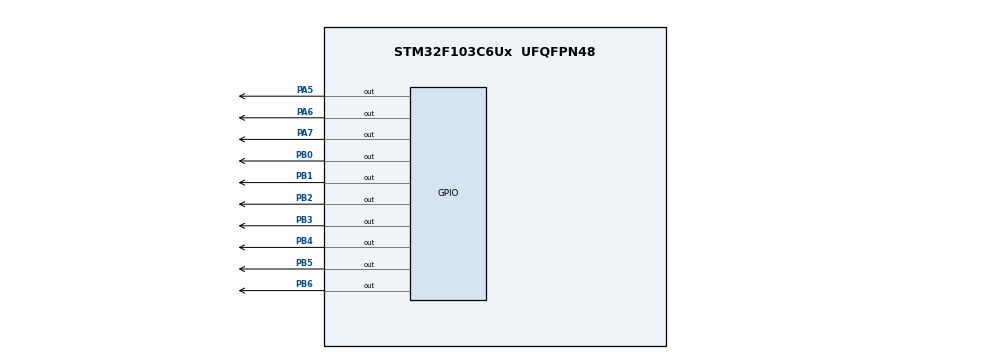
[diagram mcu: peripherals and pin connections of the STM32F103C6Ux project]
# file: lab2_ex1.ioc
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Mcu.Family=STM32F1
Mcu.Name=STM32F103C6Ux
Mcu.Package=UFQFPN48
NVIC.PriorityGroup=NVIC_PRIORITYGROUP_4
NVIC.TIM2_IRQn=true\:0\:0\:false\:false\:true\:true\:true
PA5.Signal=GPIO_Output
PA6.Signal=GPIO_Output
PA7.Signal=GPIO_Output
PB0.Signal=GPIO_Output
PB1.Signal=GPIO_Output
PB2.Signal=GPIO_Output
PB3.Signal=GPIO_Output
PB4.Signal=GPIO_Output
PB5.Signal=GPIO_Output
PB6.Signal=GPIO_Output
ProjectManager.HeapSize=0x200
ProjectManager.StackSize=0x400
ProjectManager.TargetToolchain=STM32CubeIDE
RCC.APB1Freq_Value=8000000
RCC.APB2Freq_Value=8000000
TIM2.Period=9
TIM2.Prescaler=7999
VP_SYS_VS_ND.Mode=No_Debug
VP_TIM2_VS_ClockSourceINT.Mode=Internal
board=custom

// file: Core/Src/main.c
/* USER CODE BEGIN Header */
/**
  ******************************************************************************
  * @file           : main.c
  * @brief          : Main program body
  ******************************************************************************
  * @attention
  *
  * <h2><center>&copy; Copyright (c) 2023 STMicroelectronics.
  * All rights reserved.</center></h2>
  *
  * This software component is licensed by ST under BSD 3-Clause license,
  * the "License"; You may not use this file except in compliance with the
  * License. You may obtain a copy of the License at:
  *                        opensource.org/licenses/BSD-3-Clause
  *
  ******************************************************************************
  */
/* USER CODE END Header */
#include "main.h"

TIM_HandleTypeDef htim2;

void SystemClock_Config(void);
static void MX_TIM2_Init(void);
static void MX_GPIO_Init(void);
void display7SEG(int num);

int main(void)
{

  /* MCU Configuration--------------------------------------------------------*/

  /* Reset of all peripherals, Initializes the Flash interface and the Systick. */
  HAL_Init();

  /* Configure the system clock */
  SystemClock_Config();

  /* Initialize all configured peripherals */
  MX_TIM2_Init();
  MX_GPIO_Init();
  /* USER CODE BEGIN 2 */
  HAL_GPIO_TogglePin(GPIOA, GPIO_PIN_7);
  HAL_TIM_Base_Start_IT(&htim2);
  /* USER CODE END 2 */

  /* Infinite loop */
  while (1)
  {
  }
}

void SystemClock_Config(void)
{
  RCC_OscInitTypeDef RCC_OscInitStruct = {0};
  RCC_ClkInitTypeDef RCC_ClkInitStruct = {0};

  /** Initializes the RCC Oscillators according to the specified parameters
  * in the RCC_OscInitTypeDef structure.
  */
  RCC_OscInitStruct.OscillatorType = RCC_OSCILLATORTYPE_HSI;
  RCC_OscInitStruct.HSIState = RCC_HSI_ON;
  RCC_OscInitStruct.HSICalibrationValue = RCC_HSICALIBRATION_DEFAULT;
  RCC_OscInitStruct.PLL.PLLState = RCC_PLL_NONE;
  if (HAL_RCC_OscConfig(&RCC_OscInitStruct) != HAL_OK)
  {
    Error_Handler();
  }
  /** Initializes the CPU, AHB and APB buses clocks
  */
  RCC_ClkInitStruct.ClockType = RCC_CLOCKTYPE_HCLK|RCC_CLOCKTYPE_SYSCLK
                              |RCC_CLOCKTYPE_PCLK1|RCC_CLOCKTYPE_PCLK2;
  RCC_ClkInitStruct.SYSCLKSource = RCC_SYSCLKSOURCE_HSI;
  RCC_ClkInitStruct.AHBCLKDivider = RCC_SYSCLK_DIV1;
  RCC_ClkInitStruct.APB1CLKDivider = RCC_HCLK_DIV1;
  RCC_ClkInitStruct.APB2CLKDivider = RCC_HCLK_DIV1;

  if (HAL_RCC_ClockConfig(&RCC_ClkInitStruct, FLASH_LATENCY_0) != HAL_OK)
  {
    Error_Handler();
  }
}

static void MX_TIM2_Init(void)
{

  TIM_ClockConfigTypeDef sClockSourceConfig = {0};
  TIM_MasterConfigTypeDef sMasterConfig = {0};

  htim2.Instance = TIM2;
  htim2.Init.Prescaler = 7999;
  htim2.Init.CounterMode = TIM_COUNTERMODE_UP;
  htim2.Init.Period = 9;
  htim2.Init.ClockDivision = TIM_CLOCKDIVISION_DIV1;
  htim2.Init.AutoReloadPreload = TIM_AUTORELOAD_PRELOAD_DISABLE;
  if (HAL_TIM_Base_Init(&htim2) != HAL_OK)
  {
    Error_Handler();
  }
  sClockSourceConfig.ClockSource = TIM_CLOCKSOURCE_INTERNAL;
  if (HAL_TIM_ConfigClockSource(&htim2, &sClockSourceConfig) != HAL_OK)
  {
    Error_Handler();
  }
  sMasterConfig.MasterOutputTrigger = TIM_TRGO_RESET;
  sMasterConfig.MasterSlaveMode = TIM_MASTERSLAVEMODE_DISABLE;
  if (HAL_TIMEx_MasterConfigSynchronization(&htim2, &sMasterConfig) != HAL_OK)
  {
    Error_Handler();
  }

}

static void MX_GPIO_Init(void)
{
  GPIO_InitTypeDef GPIO_InitStruct = {0};

  /* GPIO Ports Clock Enable */
  __HAL_RCC_GPIOA_CLK_ENABLE();
  __HAL_RCC_GPIOB_CLK_ENABLE();

  /*Configure GPIO pin Output Level */
  HAL_GPIO_WritePin(GPIOA, GPIO_PIN_5|GPIO_PIN_6|GPIO_PIN_7, GPIO_PIN_RESET);

  /*Configure GPIO pin Output Level */
  HAL_GPIO_WritePin(GPIOB, GPIO_PIN_0|GPIO_PIN_1|GPIO_PIN_2|GPIO_PIN_3
                          |GPIO_PIN_4|GPIO_PIN_5|GPIO_PIN_6, GPIO_PIN_RESET);

  /*Configure GPIO pins : PA5 PA6 PA7 */
  GPIO_InitStruct.Pin = GPIO_PIN_5|GPIO_PIN_6|GPIO_PIN_7;
  GPIO_InitStruct.Mode = GPIO_MODE_OUTPUT_PP;
  GPIO_InitStruct.Pull = GPIO_NOPULL;
  GPIO_InitStruct.Speed = GPIO_SPEED_FREQ_LOW;
  HAL_GPIO_Init(GPIOA, &GPIO_InitStruct);

  /*Configure GPIO pins : PB0 PB1 PB2 PB3
                           PB4 PB5 PB6 */
  GPIO_InitStruct.Pin = GPIO_PIN_0|GPIO_PIN_1|GPIO_PIN_2|GPIO_PIN_3
                          |GPIO_PIN_4|GPIO_PIN_5|GPIO_PIN_6;
  GPIO_InitStruct.Mode = GPIO_MODE_OUTPUT_PP;
  GPIO_InitStruct.Pull = GPIO_NOPULL;
  GPIO_InitStruct.Speed = GPIO_SPEED_FREQ_LOW;
  HAL_GPIO_Init(GPIOB, &GPIO_InitStruct);

}

/* USER CODE BEGIN 4 */
int counter = 50;
int num = 2;
void HAL_TIM_PeriodElapsedCallback(TIM_HandleTypeDef *htim){
	 counter--;
	 if(counter <= 0){
		 counter = 50;
		 HAL_GPIO_TogglePin(GPIOA, GPIO_PIN_5);
		 HAL_GPIO_TogglePin(GPIOA, GPIO_PIN_6);
		 HAL_GPIO_TogglePin(GPIOA, GPIO_PIN_7);
		 display7SEG(num);
		 if(num == 1){
			 num = 2;
		 }else if(num == 2){
			 num = 1;
		 }
	 }
}

void display7SEG(int number){
	switch(number){
		case 0:
			HAL_GPIO_WritePin(GPIOB, GPIO_PIN_0, RESET);
			HAL_GPIO_WritePin(GPIOB, GPIO_PIN_1, RESET);
			HAL_GPIO_WritePin(GPIOB, GPIO_PIN_2, RESET);
			HAL_GPIO_WritePin(GPIOB, GPIO_PIN_3, RESET);
			HAL_GPIO_WritePin(GPIOB, GPIO_PIN_4, RESET);
			HAL_GPIO_WritePin(GPIOB, GPIO_PIN_5, RESET);
			HAL_GPIO_WritePin(GPIOB, GPIO_PIN_6, SET);
			break;
		case 1:
			HAL_GPIO_WritePin(GPIOB, GPIO_PIN_0, SET);
			HAL_GPIO_WritePin(GPIOB, GPIO_PIN_1, RESET);
			HAL_GPIO_WritePin(GPIOB, GPIO_PIN_2, RESET);
			HAL_GPIO_WritePin(GPIOB, GPIO_PIN_3, SET);
			HAL_GPIO_WritePin(GPIOB, GPIO_PIN_4, SET);
			HAL_GPIO_WritePin(GPIOB, GPIO_PIN_5, SET);
			HAL_GPIO_WritePin(GPIOB, GPIO_PIN_6, SET);
			break;
		case 2:
			HAL_GPIO_WritePin(GPIOB, GPIO_PIN_0, RESET);
			HAL_GPIO_WritePin(GPIOB, GPIO_PIN_1, RESET);
			HAL_GPIO_WritePin(GPIOB, GPIO_PIN_2, SET);
			HAL_GPIO_WritePin(GPIOB, GPIO_PIN_3, RESET);
			HAL_GPIO_WritePin(GPIOB, GPIO_PIN_4, RESET);
			HAL_GPIO_WritePin(GPIOB, GPIO_PIN_5, SET);
			HAL_GPIO_WritePin(GPIOB, GPIO_PIN_6, RESET);
			break;
		case 3:
			HAL_GPIO_WritePin(GPIOB, GPIO_PIN_0, RESET);
			HAL_GPIO_WritePin(GPIOB, GPIO_PIN_1, RESET);
			HAL_GPIO_WritePin(GPIOB, GPIO_PIN_2, RESET);
			HAL_GPIO_WritePin(GPIOB, GPIO_PIN_3, RESET);
			HAL_GPIO_WritePin(GPIOB, GPIO_PIN_4, SET);
			HAL_GPIO_WritePin(GPIOB, GPIO_PIN_5, SET);
			HAL_GPIO_WritePin(GPIOB, GPIO_PIN_6, RESET);
			break;
		case 4:
			HAL_GPIO_WritePin(GPIOB, GPIO_PIN_0, SET);
			HAL_GPIO_WritePin(GPIOB, GPIO_PIN_1, RESET);
			HAL_GPIO_WritePin(GPIOB, GPIO_PIN_2, RESET);
			HAL_GPIO_WritePin(GPIOB, GPIO_PIN_3, SET);
			HAL_GPIO_WritePin(GPIOB, GPIO_PIN_4, SET);
			HAL_GPIO_WritePin(GPIOB, GPIO_PIN_5, RESET);
			HAL_GPIO_WritePin(GPIOB, GPIO_PIN_6, RESET);
			break;
		case 5:
			HAL_GPIO_WritePin(GPIOB, GPIO_PIN_0, RESET);
			HAL_GPIO_WritePin(GPIOB, GPIO_PIN_1, SET);
			HAL_GPIO_WritePin(GPIOB, GPIO_PIN_2, RESET);
			HAL_GPIO_WritePin(GPIOB, GPIO_PIN_3, RESET);
			HAL_GPIO_WritePin(GPIOB, GPIO_PIN_4, SET);
			HAL_GPIO_WritePin(GPIOB, GPIO_PIN_5, RESET);
			HAL_GPIO_WritePin(GPIOB, GPIO_PIN_6, RESET);
			break;
		case 6:
			HAL_GPIO_WritePin(GPIOB, GPIO_PIN_0, RESET);
			HAL_GPIO_WritePin(GPIOB, GPIO_PIN_1, SET);
			HAL_GPIO_WritePin(GPIOB, GPIO_PIN_2, RESET);
			HAL_GPIO_WritePin(GPIOB, GPIO_PIN_3, RESET);
			HAL_GPIO_WritePin(GPIOB, GPIO_PIN_4, RESET);
			HAL_GPIO_WritePin(GPIOB, GPIO_PIN_5, RESET);
			HAL_GPIO_WritePin(GPIOB, GPIO_PIN_6, RESET);
			break;
		case 7:
			HAL_GPIO_WritePin(GPIOB, GPIO_PIN_0, RESET);
			HAL_GPIO_WritePin(GPIOB, GPIO_PIN_1, RESET);
			HAL_GPIO_WritePin(GPIOB, GPIO_PIN_2, RESET);
			HAL_GPIO_WritePin(GPIOB, GPIO_PIN_3, SET);
			HAL_GPIO_WritePin(GPIOB, GPIO_PIN_4, SET);
			HAL_GPIO_WritePin(GPIOB, GPIO_PIN_5, SET);
			HAL_GPIO_WritePin(GPIOB, GPIO_PIN_6, SET);
			break;
		case 8:
			HAL_GPIO_WritePin(GPIOB, GPIO_PIN_0, RESET);
			HAL_GPIO_WritePin(GPIOB, GPIO_PIN_1, RESET);
			HAL_GPIO_WritePin(GPIOB, GPIO_PIN_2, RESET);
			HAL_GPIO_WritePin(GPIOB, GPIO_PIN_3, RESET);
			HAL_GPIO_WritePin(GPIOB, GPIO_PIN_4, RESET);
			HAL_GPIO_WritePin(GPIOB, GPIO_PIN_5, RESET);
			HAL_GPIO_WritePin(GPIOB, GPIO_PIN_6, RESET);
			break;
		case 9:
			HAL_GPIO_WritePin(GPIOB, GPIO_PIN_0, RESET);
			HAL_GPIO_WritePin(GPIOB, GPIO_PIN_1, RESET);
			HAL_GPIO_WritePin(GPIOB, GPIO_PIN_2, RESET);
			HAL_GPIO_WritePin(GPIOB, GPIO_PIN_3, RESET);
			HAL_GPIO_WritePin(GPIOB, GPIO_PIN_4, SET);
			HAL_GPIO_WritePin(GPIOB, GPIO_PIN_5, RESET);
			HAL_GPIO_WritePin(GPIOB, GPIO_PIN_6, RESET);
			break;
		default:
			break;
	}
}
/* USER CODE END 4 */

void Error_Handler(void)
{
  __disable_irq();
  while (1)
  {
  }
}

/************************ (C) COPYRIGHT STMicroelectronics *****END OF FILE****/
